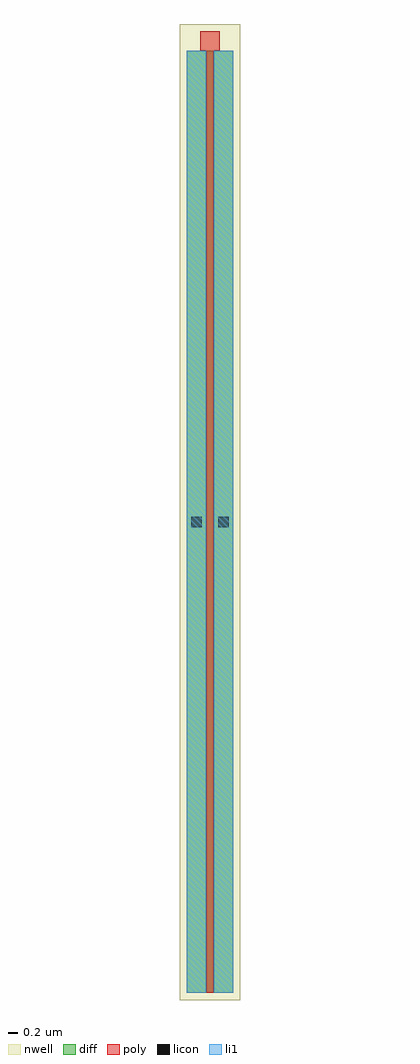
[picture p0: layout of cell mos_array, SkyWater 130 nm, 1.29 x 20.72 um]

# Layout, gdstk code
import gdstk
lib = gdstk.Library(unit=1e-6, precision=1e-09)
def R(c, l, rs):  # rectangles x0, y0, x1, y1
    for r in rs: c.add(gdstk.rectangle(r[:2], r[2:], *l))
nwell = (64, 20)
diff = (65, 20)
poly = (66, 20)
licon = (66, 44)
li1 = (67, 20)

mos_array = lib.new_cell('mos_array')
R(mos_array, nwell, [(-0.15,-0.15,1.14,20.57)])
R(mos_array, diff, [(0,0,0.99,20)])
R(mos_array, poly, [(0.42,0,0.57,20), (0.285,20,0.705,20.42)])
R(mos_array, licon, [(0.1,9.89,0.32,10.11), (0.67,9.89,0.89,10.11)])
R(mos_array, li1, [(0,0,0.42,20), (0.57,0,0.99,20)])

lib.write_gds('mos_array.gds')
